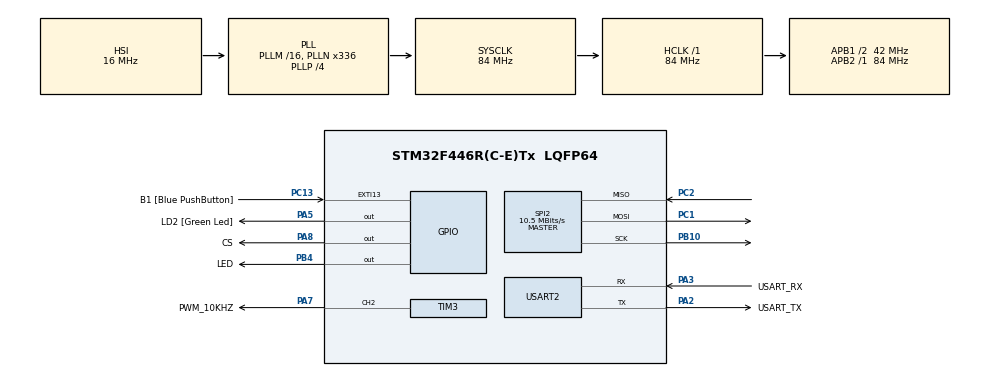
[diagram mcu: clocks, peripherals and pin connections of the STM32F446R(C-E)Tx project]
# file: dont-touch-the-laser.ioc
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Mcu.Family=STM32F4
Mcu.Name=STM32F446R(C-E)Tx
Mcu.Package=LQFP64
NVIC.EXTI15_10_IRQn=true\:0\:0\:false\:false\:true\:true\:true\:true
NVIC.PriorityGroup=NVIC_PRIORITYGROUP_0
NVIC.TIM3_IRQn=true\:0\:0\:false\:false\:true\:true\:true\:true
PA13.GPIO_Label=TMS
PA13.Mode=Serial_Wire
PA13.Signal=SYS_JTMS-SWDIO
PA14.GPIO_Label=TCK
PA14.Mode=Serial_Wire
PA14.Signal=SYS_JTCK-SWCLK
PA2.GPIO_Label=USART_TX
PA2.Mode=Asynchronous
PA2.Signal=USART2_TX
PA3.GPIO_Label=USART_RX
PA3.Mode=Asynchronous
PA3.Signal=USART2_RX
PA5.GPIO_Label=LD2 [Green Led]
PA5.Signal=GPIO_Output
PA7.GPIO_Label=PWM_10KHZ
PA7.Signal=S_TIM3_CH2
PA8.GPIO_Label=CS
PA8.GPIO_PuPd=GPIO_PULLUP
PA8.PinState=GPIO_PIN_SET
PA8.Signal=GPIO_Output
PB10.Mode=Full_Duplex_Master
PB10.Signal=SPI2_SCK
PB3.GPIO_Label=SWO
PB3.Signal=SYS_JTDO-SWO
PB4.GPIO_Label=LED
PB4.Signal=GPIO_Output
PC1.Mode=Full_Duplex_Master
PC1.Signal=SPI2_MOSI
PC13.GPIO_Label=B1 [Blue PushButton]
PC13.GPIO_ModeDefaultEXTI=GPIO_MODE_IT_FALLING
PC13.Signal=GPXTI13
PC14-OSC32_IN.Mode=LSE-External-Oscillator
PC14-OSC32_IN.Signal=RCC_OSC32_IN
PC15-OSC32_OUT.Mode=LSE-External-Oscillator
PC15-OSC32_OUT.Signal=RCC_OSC32_OUT
PC2.Mode=Full_Duplex_Master
PC2.Signal=SPI2_MISO
PH0-OSC_IN.Mode=HSE-External-Oscillator
PH0-OSC_IN.Signal=RCC_OSC_IN
PH1-OSC_OUT.Mode=HSE-External-Oscillator
PH1-OSC_OUT.Signal=RCC_OSC_OUT
ProjectManager.HeapSize=0x200
ProjectManager.StackSize=0x400
ProjectManager.TargetToolchain=STM32CubeIDE
RCC.48MHZClocksFreq_Value=84000000
RCC.AHBFreq_Value=84000000
RCC.APB1CLKDivider=RCC_HCLK_DIV2
RCC.APB1Freq_Value=42000000
RCC.APB1TimFreq_Value=84000000
RCC.APB2Freq_Value=84000000
RCC.APB2TimFreq_Value=84000000
RCC.CortexFreq_Value=84000000
RCC.FLatency-AdvancedSettings=FLASH_LATENCY_2
RCC.HCLKFreq_Value=84000000
RCC.HSE_VALUE=8000000
RCC.HSI_VALUE=16000000
RCC.PLLN=336
RCC.PLLP=RCC_PLLP_DIV4
RCC.SYSCLKFreq_VALUE=84000000
RCC.SYSCLKSource=RCC_SYSCLKSOURCE_PLLCLK
RCC.USBFreq_Value=168000000
RCC.VCOOutputFreq_Value=336000000
SH.S_TIM3_CH2.0=TIM3_CH2,PWM Generation2 CH2
SPI2.BaudRatePrescaler=SPI_BAUDRATEPRESCALER_4
SPI2.CLKPolarity=SPI_POLARITY_LOW
SPI2.CalculateBaudRate=10.5 MBits/s
SPI2.DataSize=SPI_DATASIZE_16BIT
SPI2.Direction=SPI_DIRECTION_2LINES
SPI2.Mode=SPI_MODE_MASTER
SPI2.VirtualType=VM_MASTER
TIM3.Channel-Output\ Compare1\ No\ Output=TIM_CHANNEL_1
TIM3.Channel-Output\ Compare3\ No\ Output=TIM_CHANNEL_3
TIM3.Channel-PWM\ Generation2\ CH2=TIM_CHANNEL_2
TIM3.Period=99
TIM3.Prescaler=83
TIM3.Pulse-Output\ Compare1\ No\ Output=45
TIM3.Pulse-Output\ Compare3\ No\ Output=95
TIM3.Pulse-PWM\ Generation2\ CH2=50
USART2.VirtualMode=VM_ASYNC
VP_TIM3_VS_ClockSourceINT.Mode=Internal
VP_TIM3_VS_no_output1.Mode=Output Compare1 No Output
VP_TIM3_VS_no_output3.Mode=Output Compare3 No Output
board=NUCLEO-F446RE

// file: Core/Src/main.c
/* USER CODE BEGIN Header */
/**
  ******************************************************************************
  * @file           : main.c
  * @brief          : Main program body
  ******************************************************************************
  * @attention
  *
  * Copyright (c) 2026 STMicroelectronics.
  * All rights reserved.
  *
  * This software is licensed under terms that can be found in the LICENSE file
  * in the root directory of this software component.
  * If no LICENSE file comes with this software, it is provided AS-IS.
  *
  ******************************************************************************
  */
/* USER CODE END Header */
#include "main.h"

/* USER CODE BEGIN Includes */
#include "stdio.h"
#include "adc121s021.h"

/* USER CODE END Includes */

/* USER CODE BEGIN PD */
#define N 500

/* USER CODE END PD */

SPI_HandleTypeDef hspi2;

TIM_HandleTypeDef htim3;

UART_HandleTypeDef huart2;

/* USER CODE BEGIN PV */
volatile uint16_t value_one = 0;
volatile uint16_t value_two = 0;
volatile int32_t accumulator = 0;
volatile uint16_t sample = 0;
volatile float result = 0;
volatile float detection_threshold = 0;

//state machine and flags
volatile uint8_t calibrate_state = 0;
volatile uint8_t detected_state = 0;
volatile uint8_t disarm_alarm = 0;

/* USER CODE END PV */

void SystemClock_Config(void);
static void MX_GPIO_Init(void);
static void MX_USART2_UART_Init(void);
static void MX_TIM3_Init(void);
static void MX_SPI2_Init(void);

/* USER CODE BEGIN 0 */

void HAL_TIM_OC_DelayElapsedCallback(TIM_HandleTypeDef *htim)
{
	if (htim -> Instance != TIM3) return;

	if (htim -> Channel == HAL_TIM_ACTIVE_CHANNEL_1) {
		ADC121S021_READ(&value_one);
	} else if (htim -> Channel == HAL_TIM_ACTIVE_CHANNEL_3) {
		ADC121S021_READ(&value_two);

		int32_t diff = value_one - value_two;
		accumulator += diff;
		sample++;
		if (sample == N) {
			result = (float)accumulator / N;
			if (result < detection_threshold) {
				detected_state = 1;
			}
			printf("result: %ld\r\n | value on: %d | value off: %d", (long)result, value_one, value_two);
			sample = 0;
			accumulator = 0;
		}
	}
}

void HAL_GPIO_EXTI_Callback(uint16_t GPIO_Pin)
{
	if (GPIO_Pin == B1_Pin) {
		if (calibrate_state == 1) {
			detection_threshold = result * 0.75;
			calibrate_state = 0;
		} else if (detected_state == 1) {
			disarm_alarm = 1;
		}
	}
}

int _write(int file, char *ptr, int len)
{
    while (HAL_UART_Transmit(&huart2, (uint8_t *)ptr, len, HAL_MAX_DELAY) == HAL_BUSY) { }
    return len;
}

void LASER_INIT(void)
{
	HAL_TIM_Base_Start(&htim3);
	HAL_TIM_PWM_Start(&htim3, TIM_CHANNEL_2);
	HAL_TIM_OC_Start_IT(&htim3, TIM_CHANNEL_1);
	HAL_TIM_OC_Start_IT(&htim3, TIM_CHANNEL_3);
}

void CALIBRATE_INIT(void)
{
	calibrate_state = 1;
	while (detection_threshold == 0){
		__WFI();
	}
}

void ALARM_ON(void)
{
	HAL_GPIO_WritePin(LED_GPIO_Port, LED_Pin, GPIO_PIN_SET);
}

void DISARM_ALARM(void)
{
	if (disarm_alarm == 1){
		HAL_GPIO_WritePin(LED_GPIO_Port, LED_Pin, GPIO_PIN_RESET);
		detected_state = 0;
		disarm_alarm = 0;
	}
}

/* USER CODE END 0 */

int main(void)
{

  /* MCU Configuration--------------------------------------------------------*/

  /* Reset of all peripherals, Initializes the Flash interface and the Systick. */
  HAL_Init();

  /* Configure the system clock */
  SystemClock_Config();

  /* Initialize all configured peripherals */
  MX_GPIO_Init();
  MX_USART2_UART_Init();
  MX_TIM3_Init();
  MX_SPI2_Init();
  /* USER CODE BEGIN 2 */
  LASER_INIT();
  CALIBRATE_INIT();

  /* USER CODE END 2 */

  /* Infinite loop */
  while (1)
  {

    /* USER CODE BEGIN 3 */
	  if (detected_state == 1){
		  ALARM_ON();
		  DISARM_ALARM();
	  }

  }
  /* USER CODE END 3 */
}

void SystemClock_Config(void)
{
  RCC_OscInitTypeDef RCC_OscInitStruct = {0};
  RCC_ClkInitTypeDef RCC_ClkInitStruct = {0};

  /** Configure the main internal regulator output voltage
  */
  __HAL_RCC_PWR_CLK_ENABLE();
  __HAL_PWR_VOLTAGESCALING_CONFIG(PWR_REGULATOR_VOLTAGE_SCALE3);

  /** Initializes the RCC Oscillators according to the specified parameters
  * in the RCC_OscInitTypeDef structure.
  */
  RCC_OscInitStruct.OscillatorType = RCC_OSCILLATORTYPE_HSI;
  RCC_OscInitStruct.HSIState = RCC_HSI_ON;
  RCC_OscInitStruct.HSICalibrationValue = RCC_HSICALIBRATION_DEFAULT;
  RCC_OscInitStruct.PLL.PLLState = RCC_PLL_ON;
  RCC_OscInitStruct.PLL.PLLSource = RCC_PLLSOURCE_HSI;
  RCC_OscInitStruct.PLL.PLLM = 16;
  RCC_OscInitStruct.PLL.PLLN = 336;
  RCC_OscInitStruct.PLL.PLLP = RCC_PLLP_DIV4;
  RCC_OscInitStruct.PLL.PLLQ = 2;
  RCC_OscInitStruct.PLL.PLLR = 2;
  if (HAL_RCC_OscConfig(&RCC_OscInitStruct) != HAL_OK)
  {
    Error_Handler();
  }

  /** Initializes the CPU, AHB and APB buses clocks
  */
  RCC_ClkInitStruct.ClockType = RCC_CLOCKTYPE_HCLK|RCC_CLOCKTYPE_SYSCLK
                              |RCC_CLOCKTYPE_PCLK1|RCC_CLOCKTYPE_PCLK2;
  RCC_ClkInitStruct.SYSCLKSource = RCC_SYSCLKSOURCE_PLLCLK;
  RCC_ClkInitStruct.AHBCLKDivider = RCC_SYSCLK_DIV1;
  RCC_ClkInitStruct.APB1CLKDivider = RCC_HCLK_DIV2;
  RCC_ClkInitStruct.APB2CLKDivider = RCC_HCLK_DIV1;

  if (HAL_RCC_ClockConfig(&RCC_ClkInitStruct, FLASH_LATENCY_2) != HAL_OK)
  {
    Error_Handler();
  }
}

static void MX_SPI2_Init(void)
{

  /* SPI2 parameter configuration*/
  hspi2.Instance = SPI2;
  hspi2.Init.Mode = SPI_MODE_MASTER;
  hspi2.Init.Direction = SPI_DIRECTION_2LINES;
  hspi2.Init.DataSize = SPI_DATASIZE_16BIT;
  hspi2.Init.CLKPolarity = SPI_POLARITY_LOW;
  hspi2.Init.CLKPhase = SPI_PHASE_1EDGE;
  hspi2.Init.NSS = SPI_NSS_SOFT;
  hspi2.Init.BaudRatePrescaler = SPI_BAUDRATEPRESCALER_4;
  hspi2.Init.FirstBit = SPI_FIRSTBIT_MSB;
  hspi2.Init.TIMode = SPI_TIMODE_DISABLE;
  hspi2.Init.CRCCalculation = SPI_CRCCALCULATION_DISABLE;
  hspi2.Init.CRCPolynomial = 10;
  if (HAL_SPI_Init(&hspi2) != HAL_OK)
  {
    Error_Handler();
  }

}

static void MX_TIM3_Init(void)
{

  TIM_ClockConfigTypeDef sClockSourceConfig = {0};
  TIM_MasterConfigTypeDef sMasterConfig = {0};
  TIM_OC_InitTypeDef sConfigOC = {0};

  htim3.Instance = TIM3;
  htim3.Init.Prescaler = 83;
  htim3.Init.CounterMode = TIM_COUNTERMODE_UP;
  htim3.Init.Period = 99;
  htim3.Init.ClockDivision = TIM_CLOCKDIVISION_DIV1;
  htim3.Init.AutoReloadPreload = TIM_AUTORELOAD_PRELOAD_DISABLE;
  if (HAL_TIM_Base_Init(&htim3) != HAL_OK)
  {
    Error_Handler();
  }
  sClockSourceConfig.ClockSource = TIM_CLOCKSOURCE_INTERNAL;
  if (HAL_TIM_ConfigClockSource(&htim3, &sClockSourceConfig) != HAL_OK)
  {
    Error_Handler();
  }
  if (HAL_TIM_OC_Init(&htim3) != HAL_OK)
  {
    Error_Handler();
  }
  if (HAL_TIM_PWM_Init(&htim3) != HAL_OK)
  {
    Error_Handler();
  }
  sMasterConfig.MasterOutputTrigger = TIM_TRGO_RESET;
  sMasterConfig.MasterSlaveMode = TIM_MASTERSLAVEMODE_DISABLE;
  if (HAL_TIMEx_MasterConfigSynchronization(&htim3, &sMasterConfig) != HAL_OK)
  {
    Error_Handler();
  }
  sConfigOC.OCMode = TIM_OCMODE_TIMING;
  sConfigOC.Pulse = 45;
  sConfigOC.OCPolarity = TIM_OCPOLARITY_HIGH;
  sConfigOC.OCFastMode = TIM_OCFAST_DISABLE;
  if (HAL_TIM_OC_ConfigChannel(&htim3, &sConfigOC, TIM_CHANNEL_1) != HAL_OK)
  {
    Error_Handler();
  }
  sConfigOC.OCMode = TIM_OCMODE_PWM1;
  sConfigOC.Pulse = 50;
  if (HAL_TIM_PWM_ConfigChannel(&htim3, &sConfigOC, TIM_CHANNEL_2) != HAL_OK)
  {
    Error_Handler();
  }
  sConfigOC.OCMode = TIM_OCMODE_TIMING;
  sConfigOC.Pulse = 95;
  if (HAL_TIM_OC_ConfigChannel(&htim3, &sConfigOC, TIM_CHANNEL_3) != HAL_OK)
  {
    Error_Handler();
  }
  HAL_TIM_MspPostInit(&htim3);

}

static void MX_USART2_UART_Init(void)
{

  huart2.Instance = USART2;
  huart2.Init.BaudRate = 115200;
  huart2.Init.WordLength = UART_WORDLENGTH_8B;
  huart2.Init.StopBits = UART_STOPBITS_1;
  huart2.Init.Parity = UART_PARITY_NONE;
  huart2.Init.Mode = UART_MODE_TX_RX;
  huart2.Init.HwFlowCtl = UART_HWCONTROL_NONE;
  huart2.Init.OverSampling = UART_OVERSAMPLING_16;
  if (HAL_UART_Init(&huart2) != HAL_OK)
  {
    Error_Handler();
  }

}

static void MX_GPIO_Init(void)
{
  GPIO_InitTypeDef GPIO_InitStruct = {0};

  /* GPIO Ports Clock Enable */
  __HAL_RCC_GPIOC_CLK_ENABLE();
  __HAL_RCC_GPIOH_CLK_ENABLE();
  __HAL_RCC_GPIOA_CLK_ENABLE();
  __HAL_RCC_GPIOB_CLK_ENABLE();

  /*Configure GPIO pin Output Level */
  HAL_GPIO_WritePin(LD2_GPIO_Port, LD2_Pin, GPIO_PIN_RESET);

  /*Configure GPIO pin Output Level */
  HAL_GPIO_WritePin(CS_GPIO_Port, CS_Pin, GPIO_PIN_SET);

  /*Configure GPIO pin Output Level */
  HAL_GPIO_WritePin(LED_GPIO_Port, LED_Pin, GPIO_PIN_RESET);

  /*Configure GPIO pin : B1_Pin */
  GPIO_InitStruct.Pin = B1_Pin;
  GPIO_InitStruct.Mode = GPIO_MODE_IT_FALLING;
  GPIO_InitStruct.Pull = GPIO_NOPULL;
  HAL_GPIO_Init(B1_GPIO_Port, &GPIO_InitStruct);

  /*Configure GPIO pin : LD2_Pin */
  GPIO_InitStruct.Pin = LD2_Pin;
  GPIO_InitStruct.Mode = GPIO_MODE_OUTPUT_PP;
  GPIO_InitStruct.Pull = GPIO_NOPULL;
  GPIO_InitStruct.Speed = GPIO_SPEED_FREQ_LOW;
  HAL_GPIO_Init(LD2_GPIO_Port, &GPIO_InitStruct);

  /*Configure GPIO pin : CS_Pin */
  GPIO_InitStruct.Pin = CS_Pin;
  GPIO_InitStruct.Mode = GPIO_MODE_OUTPUT_PP;
  GPIO_InitStruct.Pull = GPIO_PULLUP;
  GPIO_InitStruct.Speed = GPIO_SPEED_FREQ_LOW;
  HAL_GPIO_Init(CS_GPIO_Port, &GPIO_InitStruct);

  /*Configure GPIO pin : LED_Pin */
  GPIO_InitStruct.Pin = LED_Pin;
  GPIO_InitStruct.Mode = GPIO_MODE_OUTPUT_PP;
  GPIO_InitStruct.Pull = GPIO_NOPULL;
  GPIO_InitStruct.Speed = GPIO_SPEED_FREQ_LOW;
  HAL_GPIO_Init(LED_GPIO_Port, &GPIO_InitStruct);

  /* EXTI interrupt init*/
  HAL_NVIC_SetPriority(EXTI15_10_IRQn, 0, 0);
  HAL_NVIC_EnableIRQ(EXTI15_10_IRQn);

}

void Error_Handler(void)
{
  __disable_irq();
  while (1)
  {
  }
}
